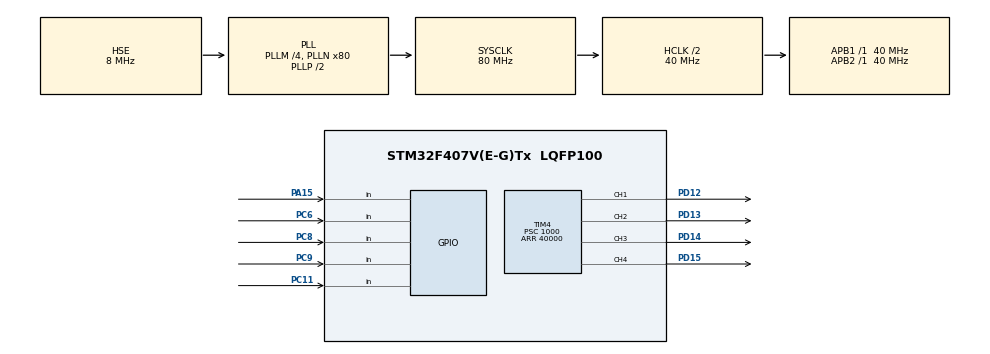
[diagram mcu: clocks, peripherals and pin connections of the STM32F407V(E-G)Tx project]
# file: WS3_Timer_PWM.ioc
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Mcu.Family=STM32F4
Mcu.Name=STM32F407V(E-G)Tx
Mcu.Package=LQFP100
NVIC.PriorityGroup=NVIC_PRIORITYGROUP_4
NVIC.TIM4_IRQn=true\:0\:0\:false\:false\:true\:true\:true
PA15.Signal=GPIO_Input
PC11.Signal=GPIO_Input
PC6.Signal=GPIO_Input
PC8.Signal=GPIO_Input
PC9.Signal=GPIO_Input
PD12.Signal=S_TIM4_CH1
PD13.Signal=S_TIM4_CH2
PD14.Signal=S_TIM4_CH3
PD15.Signal=S_TIM4_CH4
PH0-OSC_IN.Mode=HSE-External-Oscillator
PH0-OSC_IN.Signal=RCC_OSC_IN
PH1-OSC_OUT.Mode=HSE-External-Oscillator
PH1-OSC_OUT.Signal=RCC_OSC_OUT
ProjectManager.HeapSize=0x200
ProjectManager.StackSize=0x400
ProjectManager.TargetToolchain=STM32CubeIDE
RCC.48MHZClocksFreq_Value=40000000
RCC.AHBCLKDivider=RCC_SYSCLK_DIV2
RCC.AHBFreq_Value=40000000
RCC.APB1Freq_Value=40000000
RCC.APB1TimFreq_Value=40000000
RCC.APB2Freq_Value=40000000
RCC.APB2TimFreq_Value=40000000
RCC.CortexFreq_Value=40000000
RCC.HCLKFreq_Value=40000000
RCC.HSE_VALUE=8000000
RCC.HSI_VALUE=16000000
RCC.LSE_VALUE=32768
RCC.PLLM=4
RCC.PLLN=80
RCC.PLLSourceVirtual=RCC_PLLSOURCE_HSE
RCC.SYSCLKFreq_VALUE=80000000
RCC.SYSCLKSource=RCC_SYSCLKSOURCE_PLLCLK
RCC.VCOOutputFreq_Value=160000000
SH.S_TIM4_CH1.0=TIM4_CH1,PWM Generation1 CH1
SH.S_TIM4_CH2.0=TIM4_CH2,PWM Generation2 CH2
SH.S_TIM4_CH3.0=TIM4_CH3,PWM Generation3 CH3
SH.S_TIM4_CH4.0=TIM4_CH4,PWM Generation4 CH4
TIM4.AutoReloadPreload=TIM_AUTORELOAD_PRELOAD_ENABLE
TIM4.Channel-PWM\ Generation1\ CH1=TIM_CHANNEL_1
TIM4.Channel-PWM\ Generation2\ CH2=TIM_CHANNEL_2
TIM4.Channel-PWM\ Generation3\ CH3=TIM_CHANNEL_3
TIM4.Channel-PWM\ Generation4\ CH4=TIM_CHANNEL_4
TIM4.Period=40000
TIM4.Prescaler=1000
VP_TIM4_VS_ClockSourceINT.Mode=Internal
board=custom

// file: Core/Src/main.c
/* USER CODE BEGIN Header */
/**
  ******************************************************************************
  * @file           : main.c
  * @brief          : Main program body
  ******************************************************************************
  * @attention
  *
  * <h2><center>&copy; Copyright (c) 2023 STMicroelectronics.
  * All rights reserved.</center></h2>
  *
  * This software component is licensed by ST under BSD 3-Clause license,
  * the "License"; You may not use this file except in compliance with the
  * License. You may obtain a copy of the License at:
  *                        opensource.org/licenses/BSD-3-Clause
  *
  ******************************************************************************
  */
/* USER CODE END Header */
#include "main.h"

/* USER CODE BEGIN PD */
#define DUTY_CH1 CCR1
#define DUTY_CH2 CCR2
#define DUTY_CH3 CCR3
#define DUTY_CH4 CCR4

#define CH_CANGE_BUTTON_PIN GPIO_PIN_15 //ON_OFF_BUTTON_PIN
#define DUTY_UP_BUTTON_PIN GPIO_PIN_11 //NEXT_BUTTON_PIN
#define DUTY_DOWN_BUTTON_PIN GPIO_PIN_9//PREV_BUTTON_PIN
#define FREQ_UP_BUTTON_PIN GPIO_PIN_6 //SPEED_UP_BUTTON_PIN
#define FREQ_DOWN_BUTTON_PIN GPIO_PIN_8//SPEED_DOWN_BUTTON_PIN

/* USER CODE END PD */

TIM_HandleTypeDef htim4;

void SystemClock_Config(void);
static void MX_GPIO_Init(void);
static void MX_TIM4_Init(void);

/* USER CODE BEGIN 0 */

volatile uint16_t PWM_PERIOD = 40000;
volatile uint16_t PWM_PERIOD_5kHZ_STEP = 3250;
volatile uint16_t PWM_PERIOD_MAX = 65000;
volatile uint16_t PWM_PERIOD_MIDDLE = 32500;
volatile uint16_t PWM_PERIOD_MIN = 0;

uint16_t PWM_DUTY_CURENT_CH_ALL = 20000;
uint16_t PWM_DUTY_MAX;
uint16_t PWM_DUTY_MIDDLE;
uint16_t PWM_DUTY_MIN = 0;
uint16_t PWM_DUTY_5PCT_STEP;

uint8_t CURRENT_SCHEME = 0;

uint32_t LAST_TICK = 0;

/* USER CODE END 0 */

int main(void)
{

  /* MCU Configuration--------------------------------------------------------*/

  /* Reset of all peripherals, Initializes the Flash interface and the Systick. */
  HAL_Init();

  /* Configure the system clock */
  SystemClock_Config();

  /* Initialize all configured peripherals */
  MX_GPIO_Init();
  MX_TIM4_Init();

  /* Infinite loop */
  /* USER CODE BEGIN WHILE */
  while (1)
  {
	  	//////////init variables//////////

	  	TIM4->ARR = PWM_PERIOD;
	  	PWM_DUTY_MAX = PWM_PERIOD;
	  	PWM_DUTY_5PCT_STEP = PWM_PERIOD/20;
	  	PWM_DUTY_MIDDLE = PWM_PERIOD/2;

	  	////////////////////////

			  if(CURRENT_SCHEME == 0){

				  HAL_TIM_PWM_Stop(&htim4, TIM_CHANNEL_1);
				  HAL_TIM_PWM_Stop(&htim4, TIM_CHANNEL_2);
				  HAL_TIM_PWM_Stop(&htim4, TIM_CHANNEL_3);
				  HAL_TIM_PWM_Stop(&htim4, TIM_CHANNEL_4);
			  }
			  if (CURRENT_SCHEME == 1){

				  HAL_TIM_PWM_Stop(&htim4, TIM_CHANNEL_2);
				  HAL_TIM_PWM_Stop(&htim4, TIM_CHANNEL_3);
				  HAL_TIM_PWM_Stop(&htim4, TIM_CHANNEL_4);
				  HAL_TIM_PWM_Start(&htim4, TIM_CHANNEL_1);
				  TIM4->CCR1=PWM_DUTY_CURENT_CH_ALL;
			  }
			  if(CURRENT_SCHEME == 2){

				  HAL_TIM_PWM_Stop(&htim4, TIM_CHANNEL_1);
				  HAL_TIM_PWM_Stop(&htim4, TIM_CHANNEL_3);
				  HAL_TIM_PWM_Stop(&htim4, TIM_CHANNEL_4);
				  HAL_TIM_PWM_Start(&htim4, TIM_CHANNEL_2);
				  TIM4->CCR2=PWM_DUTY_CURENT_CH_ALL;
			  }
			  if(CURRENT_SCHEME == 3){

				  HAL_TIM_PWM_Stop(&htim4, TIM_CHANNEL_1);
				  HAL_TIM_PWM_Stop(&htim4, TIM_CHANNEL_2);
				  HAL_TIM_PWM_Stop(&htim4, TIM_CHANNEL_4);
				  HAL_TIM_PWM_Start(&htim4, TIM_CHANNEL_3);
				  TIM4->CCR3=PWM_DUTY_CURENT_CH_ALL;
			  }
			  if(CURRENT_SCHEME == 4){

				  HAL_TIM_PWM_Stop(&htim4, TIM_CHANNEL_1);
				  HAL_TIM_PWM_Stop(&htim4, TIM_CHANNEL_2);
				  HAL_TIM_PWM_Stop(&htim4, TIM_CHANNEL_3);
				  HAL_TIM_PWM_Start(&htim4, TIM_CHANNEL_4);
				  TIM4->CCR4=PWM_DUTY_CURENT_CH_ALL;
			  }

			if((HAL_GetTick()- LAST_TICK) >=500)
			{	LAST_TICK = HAL_GetTick();

				if(HAL_GPIO_ReadPin(GPIOC, DUTY_UP_BUTTON_PIN) == 0) {
					if(PWM_DUTY_CURENT_CH_ALL < PWM_PERIOD_MAX){
						PWM_DUTY_CURENT_CH_ALL += PWM_DUTY_5PCT_STEP;
					}

				}
				else if(HAL_GPIO_ReadPin(GPIOC, DUTY_DOWN_BUTTON_PIN) == 0) {
					if(PWM_DUTY_CURENT_CH_ALL > PWM_PERIOD_MIN) {
						PWM_DUTY_CURENT_CH_ALL -= PWM_DUTY_5PCT_STEP;
					}
				}
				else if(HAL_GPIO_ReadPin(GPIOC, FREQ_UP_BUTTON_PIN) == 0) {
					if(PWM_PERIOD > PWM_PERIOD_MIN) {
						PWM_PERIOD -= PWM_PERIOD_5kHZ_STEP;
					}
				}
				else if(HAL_GPIO_ReadPin(GPIOC, FREQ_DOWN_BUTTON_PIN) == 0) {
					if(PWM_PERIOD < PWM_PERIOD_MAX) {
						PWM_PERIOD += PWM_PERIOD_5kHZ_STEP;
					}
				}
				else if(HAL_GPIO_ReadPin(GPIOA, CH_CANGE_BUTTON_PIN) == 0) {
						CURRENT_SCHEME = (CURRENT_SCHEME + 1) % 5;

						if(CURRENT_SCHEME == 5){CURRENT_SCHEME = 0;}
				}

			}

    /* USER CODE END WHILE */

  }
}

void SystemClock_Config(void)
{
  RCC_OscInitTypeDef RCC_OscInitStruct = {0};
  RCC_ClkInitTypeDef RCC_ClkInitStruct = {0};

  /** Configure the main internal regulator output voltage
  */
  __HAL_RCC_PWR_CLK_ENABLE();
  __HAL_PWR_VOLTAGESCALING_CONFIG(PWR_REGULATOR_VOLTAGE_SCALE1);
  /** Initializes the RCC Oscillators according to the specified parameters
  * in the RCC_OscInitTypeDef structure.
  */
  RCC_OscInitStruct.OscillatorType = RCC_OSCILLATORTYPE_HSE;
  RCC_OscInitStruct.HSEState = RCC_HSE_ON;
  RCC_OscInitStruct.PLL.PLLState = RCC_PLL_ON;
  RCC_OscInitStruct.PLL.PLLSource = RCC_PLLSOURCE_HSE;
  RCC_OscInitStruct.PLL.PLLM = 4;
  RCC_OscInitStruct.PLL.PLLN = 80;
  RCC_OscInitStruct.PLL.PLLP = RCC_PLLP_DIV2;
  RCC_OscInitStruct.PLL.PLLQ = 4;
  if (HAL_RCC_OscConfig(&RCC_OscInitStruct) != HAL_OK)
  {
    Error_Handler();
  }
  /** Initializes the CPU, AHB and APB buses clocks
  */
  RCC_ClkInitStruct.ClockType = RCC_CLOCKTYPE_HCLK|RCC_CLOCKTYPE_SYSCLK
                              |RCC_CLOCKTYPE_PCLK1|RCC_CLOCKTYPE_PCLK2;
  RCC_ClkInitStruct.SYSCLKSource = RCC_SYSCLKSOURCE_PLLCLK;
  RCC_ClkInitStruct.AHBCLKDivider = RCC_SYSCLK_DIV2;
  RCC_ClkInitStruct.APB1CLKDivider = RCC_HCLK_DIV1;
  RCC_ClkInitStruct.APB2CLKDivider = RCC_HCLK_DIV1;

  if (HAL_RCC_ClockConfig(&RCC_ClkInitStruct, FLASH_LATENCY_1) != HAL_OK)
  {
    Error_Handler();
  }
}

static void MX_TIM4_Init(void)
{

  TIM_ClockConfigTypeDef sClockSourceConfig = {0};
  TIM_MasterConfigTypeDef sMasterConfig = {0};
  TIM_OC_InitTypeDef sConfigOC = {0};

  htim4.Instance = TIM4;
  htim4.Init.Prescaler = 1000;
  htim4.Init.CounterMode = TIM_COUNTERMODE_UP;
  htim4.Init.Period = 40000;
  htim4.Init.ClockDivision = TIM_CLOCKDIVISION_DIV1;
  htim4.Init.AutoReloadPreload = TIM_AUTORELOAD_PRELOAD_ENABLE;
  if (HAL_TIM_Base_Init(&htim4) != HAL_OK)
  {
    Error_Handler();
  }
  sClockSourceConfig.ClockSource = TIM_CLOCKSOURCE_INTERNAL;
  if (HAL_TIM_ConfigClockSource(&htim4, &sClockSourceConfig) != HAL_OK)
  {
    Error_Handler();
  }
  if (HAL_TIM_PWM_Init(&htim4) != HAL_OK)
  {
    Error_Handler();
  }
  sMasterConfig.MasterOutputTrigger = TIM_TRGO_RESET;
  sMasterConfig.MasterSlaveMode = TIM_MASTERSLAVEMODE_DISABLE;
  if (HAL_TIMEx_MasterConfigSynchronization(&htim4, &sMasterConfig) != HAL_OK)
  {
    Error_Handler();
  }
  sConfigOC.OCMode = TIM_OCMODE_PWM1;
  sConfigOC.Pulse = 0;
  sConfigOC.OCPolarity = TIM_OCPOLARITY_HIGH;
  sConfigOC.OCFastMode = TIM_OCFAST_DISABLE;
  if (HAL_TIM_PWM_ConfigChannel(&htim4, &sConfigOC, TIM_CHANNEL_1) != HAL_OK)
  {
    Error_Handler();
  }
  if (HAL_TIM_PWM_ConfigChannel(&htim4, &sConfigOC, TIM_CHANNEL_2) != HAL_OK)
  {
    Error_Handler();
  }
  if (HAL_TIM_PWM_ConfigChannel(&htim4, &sConfigOC, TIM_CHANNEL_3) != HAL_OK)
  {
    Error_Handler();
  }
  if (HAL_TIM_PWM_ConfigChannel(&htim4, &sConfigOC, TIM_CHANNEL_4) != HAL_OK)
  {
    Error_Handler();
  }
  HAL_TIM_MspPostInit(&htim4);

}

static void MX_GPIO_Init(void)
{
  GPIO_InitTypeDef GPIO_InitStruct = {0};

  /* GPIO Ports Clock Enable */
  __HAL_RCC_GPIOH_CLK_ENABLE();
  __HAL_RCC_GPIOD_CLK_ENABLE();
  __HAL_RCC_GPIOC_CLK_ENABLE();
  __HAL_RCC_GPIOA_CLK_ENABLE();

  /*Configure GPIO pins : PC6 PC8 PC9 PC11 */
  GPIO_InitStruct.Pin = GPIO_PIN_6|GPIO_PIN_8|GPIO_PIN_9|GPIO_PIN_11;
  GPIO_InitStruct.Mode = GPIO_MODE_INPUT;
  GPIO_InitStruct.Pull = GPIO_NOPULL;
  HAL_GPIO_Init(GPIOC, &GPIO_InitStruct);

  /*Configure GPIO pin : PA15 */
  GPIO_InitStruct.Pin = GPIO_PIN_15;
  GPIO_InitStruct.Mode = GPIO_MODE_INPUT;
  GPIO_InitStruct.Pull = GPIO_NOPULL;
  HAL_GPIO_Init(GPIOA, &GPIO_InitStruct);

}

void Error_Handler(void)
{
  __disable_irq();
  while (1)
  {
  }
}

/************************ (C) COPYRIGHT STMicroelectronics *****END OF FILE****/
